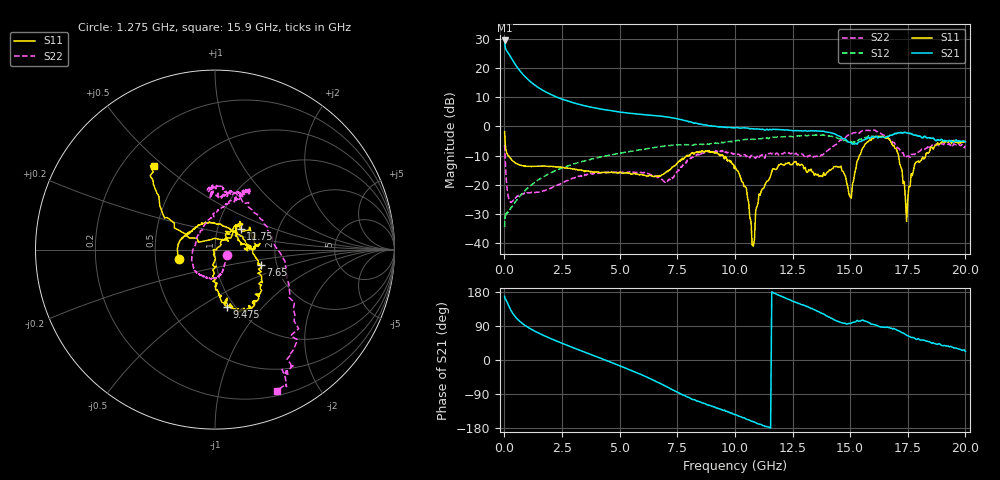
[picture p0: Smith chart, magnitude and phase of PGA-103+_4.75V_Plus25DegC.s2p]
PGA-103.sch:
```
<QucsStudio Schematic 5.8>
<Properties>
View=-842.127,0.885064,1584.38,2416.28,0.999989,0,798
Grid=10,10,1
DataSet=*.dat
DataDisplay=*.dpl
OpenDisplay=3
showFrame=0
FrameText0=Title \n @PATH@@FILE@
FrameText1=Drawn By:
FrameText2=Date: @DATE@
FrameText3=Revision:
tune=C12: C|5 pF|105 pF
tune=L4: L|10 nH|310 nH
tune=L11: L|40 nH|940 nH
</Properties>
<Symbol>
</Symbol>
<Components>
GND * 1 320 250 0 0 0
GND * 1 490 130 0 0 0
GND * 1 440 160 0 0 0
SPfile L2 1 400 150 -39 -8 1 "Coilcraft_0603DC/0603DC-R22.s2p"0"2"0"polar"0"linear"0"short"0"none"0"block"0"SOT23"0
GND * 1 540 120 0 0 0
GND * 1 490 250 0 0 0
Pac P2 1 620 270 18 -26 0 "2"1"50 Ω"1"0 dBm"0"1 GHz"0"26.85"0"con_2"0
GND * 1 620 320 0 0 0
GND * 1 320 1030 0 0 0
GND * 1 540 900 0 0 0
Pac P4 1 620 1050 18 -26 0 "4"1"50 Ω"1"0 dBm"0"1 GHz"0"26.85"0"con_2"0
GND * 1 620 1100 0 0 0
L L5 1 400 950 14 -23 3 "220 nH"1"0"0""0"inductor_1mH"0
GND * 1 120 270 0 0 3
GND * 1 150 300 0 0 0
GND * 1 120 1080 0 0 0
C C12 1 70 1000 -26 17 0 "33 pF"1"0"0""0"neutral"0"SMD0603"0
C C9 1 470 880 -26 17 0 "330 pF"1"0"0""0"neutral"0"SMD0603"0
C C11 1 520 1000 -26 17 0 "330 pF"1"0"0""0"neutral"0"SMD0603"0
GND * 1 40 250 0 0 0
GND * 1 230 250 0 0 0
SPfile C3 1 490 100 -13 -40 0 "sparameter-mlcc20250313045539/grm-s-v72/Temperature_compensating/1608_0603/GRM1882C1H331JA01.s2p"0"2"0"polar"0"linear"0"short"0"none"0"block"0"SOT23"0
SPfile C14 1 490 220 -13 -40 0 "sparameter-mlcc20250313045539/grm-s-v72/Temperature_compensating/1608_0603/GRM1882C1H331JA01.s2p"0"2"0"polar"0"linear"0"short"0"none"0"block"0"SOT23"0
SPfile C16 1 230 220 -13 -40 0 "sparameter-mlcc20250313045539/grm-s-v72/Temperature_compensating/1608_0603/GRM1882C1H331JA01.s2p"0"2"0"polar"0"linear"0"short"0"none"0"block"0"SOT23"0
GND * 1 320 1790 0 0 0
GND * 1 540 1660 0 0 0
GND * 1 620 1860 0 0 0
L L7 1 400 1710 14 -23 3 "220 nH"1"0"0""0"inductor_1mH"0
L L9 1 120 1810 14 -23 3 "68 nH"1"0"0""0"inductor_1mH"0
GND * 1 120 1840 0 0 0
C C18 1 470 1640 -26 17 0 "330 pF"1"0"0""0"neutral"0"SMD0603"0
C C20 1 520 1760 -26 17 0 "330 pF"1"0"0""0"neutral"0"SMD0603"0
C C21 1 230 1760 -26 17 0 "330 pF"1"0"0""0"neutral"0"SMD0603"0
Pac P6 1 620 1810 18 -26 0 "6"1"50 Ω"1"0 dBm"0"1 GHz"0"26.85"0"con_2"0
SPfile Q1 1 320 220 -13 -40 0 "PGA103/PGA-103+_4.75V_Plus25DegC.s2p"0"2"0"polar"0"linear"0"short"0"none"0"block"0"SOT23"0
SPfile Q4 1 320 1000 -13 -40 0 "PGA103/PGA-103+_4.75V_Plus25DegC.s2p"0"2"0"polar"0"linear"0"short"0"none"0"block"0"SOT23"0
SPfile C1 1 40 220 -12 -41 0 "sparameter-mlcc20250313045539/grm-s-v72/Temperature_compensating/1608_0603/GRM1882C1H330JA01.s2p"0"2"0"polar"0"linear"0"short"0"none"0"block"0"SOT23"0
C C8 1 230 1000 -26 17 0 "330 pF"1"0"0""0"neutral"0"SMD0603"0
SPfile L1 1 150 270 23 -9 3 "Coilcraft_0805CS/0805CS-680.s2p"0"2"0"rectangular"0"linear"0"short"0"none"0"block"0"SOT23"0
Pac P1 1 -150 270 -71 -26 6 "1"1"50 Ω"1"0 dBm"0"1 GHz"0"26.85"0"con_2"0
GND * 1 -150 300 0 0 0
GND * 1 -70 300 0 0 0
GND * 1 -40 270 0 0 1
Pac P3 1 -110 1050 -71 -26 6 "3"1"50 Ω"1"0 dBm"0"1 GHz"0"26.85"0"con_2"0
GND * 1 -110 1080 0 0 0
GND * 1 -50 1080 0 0 0
SPfile L10 1 -70 270 -39 -8 1 "Coilcraft_0805CS/0805CS-561.s2p"0"2"0"polar"0"linear"0"short"0"none"0"block"0"SOT23"0
L L11 1 -50 1050 14 -23 3 "560 nH"1"0"0""0"inductor_1mH"0
L L4 1 120 1050 14 -23 3 "68 nH"1"0"0""0"inductor_1mH"0
C C17 1 70 1760 -26 17 0 "33 pF"1"0"0""0"neutral"0"SMD0603"0
GND * 1 -120 1840 0 0 0
Pac P5 1 -120 1810 -71 -26 6 "5"1"50 Ω"1"0 dBm"0"1 GHz"0"26.85"0"con_2"0
GND * 1 -50 1840 0 0 0
L L12 1 -50 1810 14 -23 3 "560 nH"1"0"0""0"inductor_1mH"0
SPfile Q3 1 320 1760 -13 -40 0 "TQP3M9037-s-parameters/TQP3M9037_3.3V_Vdd_deembeded_sparam.S2P"0"2"0"polar"0"linear"0"short"0"none"0"block"0"SOT23"0
.SP SP1 1 900 130 0 9 0 "log"1"100 MHz"1"6 GHz"1"501"1"no"0"1"0"2"0"none"0
</Components>
<Wires>
350 220 400 220
400 100 460 100
400 100 400 120
440 150 440 160
430 150 440 150
540 100 540 120
520 100 540 100
400 180 400 220
400 220 460 220
520 220 620 220
620 300 620 320
620 220 620 240
350 1000 400 1000
620 1080 620 1100
400 980 400 1000
400 880 400 920
400 880 440 880
540 880 540 900
500 880 540 880
150 220 150 240
120 1000 120 1020
120 1000 200 1000
260 1000 290 1000
100 1000 120 1000
400 1000 490 1000
620 1000 620 1020
550 1000 620 1000
260 220 290 220
150 220 200 220
70 220 150 220
350 1760 400 1760
620 1840 620 1860
400 1740 400 1760
400 1640 400 1680
400 1640 440 1640
540 1640 540 1660
500 1640 540 1640
120 1760 120 1780
120 1760 200 1760
260 1760 290 1760
100 1760 120 1760
400 1760 490 1760
620 1760 620 1780
550 1760 620 1760
-150 220 -150 240
-150 220 -70 220
-70 220 10 220
-70 220 -70 240
-110 1000 -50 1000
-110 1000 -110 1020
-50 1000 40 1000
-50 1000 -50 1020
-120 1760 -50 1760
-120 1760 -120 1780
-50 1760 40 1760
-50 1760 -50 1780
</Wires>
<Diagrams>
<Rect -144 756 653 367 31 #c0c0c0 1 10 1 1e+08 1 6e+09 0 -35 5 0 1 2.60404 5 28.1726 -1 -1 -1 "" "" "">
	<Legend 280 -80 1>
	<"dB(S[1,1])" "" #0000ff 1 3 0 0 0 1 "Input RL">
	  <Mkr 1.28696e+09 254 -316 3 1 0 0 0 50>
	  <Mkr 1.42207e+08 54 -176 3 1 0 0 0 50>
	  <Mkr 2.32071e+09 484 -356 3 1 0 0 0 50>
	<"dB(S[2,1])" "" #ff0000 1 3 0 0 1 1 "Gain">
	  <Mkr 1.28696e+09 234 -166 3 1 0 0 0 50>
	  <Mkr 1.42207e+08 54 -296 3 1 0 0 0 50>
	  <Mkr 2.32071e+09 484 -196 3 1 0 0 0 50>
	<"dB(S[2,2])" "" #ff00ff 1 3 0 0 0 1 "Output RL">
</Rect>
<Rect -134 1546 653 367 31 #c0c0c0 1 10 1 1e+08 1 6e+09 0 -40 5 0 0 -10 5 30 -1 -1 -1 "" "" "">
	<Legend 240 -70 1>
	<"dB(S[3,3])" "" #0000ff 1 3 0 0 0 1 "Input RL">
	  <Mkr 2.32071e+09 494 -356 3 1 0 0 0 50>
	  <Mkr 1.42207e+08 74 -226 3 1 0 0 0 50>
	  <Mkr 1.28696e+09 264 -336 3 1 0 0 0 50>
	<"dB(S[4,3])" "" #ff0000 1 3 0 0 1 1 "Gain">
	  <Mkr 1.28696e+09 264 -206 3 1 0 0 0 50>
	  <Mkr 2.32071e+09 494 -126 3 1 0 0 0 50>
	  <Mkr 1.42207e+08 34 -306 3 1 0 0 0 50>
	<"dB(S[4,4])" "" #ff00ff 1 3 0 0 0 1 "Output RL">
</Rect>
<Smith 626 1546 367 367 31 #c0c0c0 1 00 1 0 1 1 1 0 4 1 1 0 4 1 -1 -1 -1 "" "" "">
	<Legend 10 -100 1>
	<"S[3,3]" "" #0000ff 1 3 0 0 0 1 "Input Match">
	  <Mkr 1.44555e+08 264 -386 3 1 0 0 1 50>
	  <Mkr 1.28696e+09 314 -246 3 1 0 0 1 50>
</Smith>
<Rect -124 2316 653 367 31 #c0c0c0 1 10 1 1e+08 1 6e+09 0 -25 5 0 0 5 5 30 -1 -1 -1 "" "" "">
	<Legend 30 -80 1>
	<"dB(S[5,5])" "" #0000ff 1 3 0 0 0 1 "Input RL">
	  <Mkr 2.32071e+09 494 -336 3 1 0 0 0 50>
	  <Mkr 1.28696e+09 274 -206 3 1 0 0 0 50>
	  <Mkr 1.42207e+08 34 -216 3 1 0 0 0 50>
	<"dB(S[6,5])" "" #ff0000 1 3 0 0 1 1 "Gain">
	  <Mkr 2.32071e+09 494 -136 3 1 0 0 0 50>
	  <Mkr 1.28696e+09 264 -326 3 1 0 0 0 50>
	  <Mkr 1.42207e+08 34 -316 3 1 0 0 0 50>
	<"dB(S[6,6])" "" #ff00ff 1 3 0 0 0 1 "Output RL">
</Rect>
<Smith 646 2316 367 367 31 #c0c0c0 1 00 1 0 1 1 1 0 4 1 1 0 4 1 -1 -1 -1 "" "" "">
	<Legend 10 -100 0>
	<"S[5,5]" "" #0000ff 1 3 0 0 0 0 "">
	  <Mkr 1.44555e+08 264 -386 3 1 0 0 1 50>
	  <Mkr 1.28696e+09 314 -246 3 1 0 0 1 50>
</Smith>
<Smith 596 756 367 367 31 #c0c0c0 1 00 1 0 1 1 1 0 4 1 1 0 4 1 -1 -1 -1 "" "" "">
	<Legend 10 -100 1>
	<"S[1,1]" "" #0000ff 1 3 0 0 0 1 "Input Match">
	  <Mkr 1.28696e+09 314 -256 3 1 0 0 1 50>
	  <Mkr 1.44555e+08 254 -386 3 1 0 0 1 50>
</Smith>
</Diagrams>
<Paintings>
Text 274 1691 16 #000000 0 TQP3M9037
Text 464 41 16 #000000 0 330 pF
Text 464 161 16 #000000 0 330 pF
Text 204 161 16 #000000 0 330 pF
Text 294 161 16 #000000 0 PGA103
Text 124 161 16 #000000 0 68 nH
Text 14 161 16 #000000 0 33 pF
Text -176 51 20 #000000 0 Use models for each component
Text -136 861 20 #000000 0 Use ideal components
Text 284 941 16 #000000 0 PGA-103+
</Paintings>
```
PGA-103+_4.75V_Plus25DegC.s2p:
!Mini-Circuits Laboratory
!S-Parameters, Port extension performed
!Model: PGA-103+
!Run / Lot / Date Code: N/A / BP170-001-01-101EV / 1210
!Fixture: TB-313
!Network Analyzer: PNA-X N5242A - 423 4 ports;  Serial number: 71013
!Date: 5/24/2012 at 5:11:19 PM
!S/N: Unit# 1
!Tested with: Vdd=4.75V at 25C
# Hz  S  dB  R  50
!Frequency  S11 dB  S11 Deg  S21 dB  S21 Deg  S12 dB  S12 Deg  S22 dB  S22 Deg
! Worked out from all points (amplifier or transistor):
!   660 points, 10 MHz to 20 GHz, reference 50 ohm
!   highest |S21| = 29.5 dB at 10 MHz (marker M1)
!   |S21| within 3 dB of that: start of sweep to 62.84 MHz
!   unconditionally stable (mu >= 1): 131 MHz to 15.04 GHz; 16.84 GHz to end of sweep
!   at 1.275 GHz: K = 1.11, MAG = 14.9 dB, |S12| = -19.4 dB
!   at 6.775 GHz: K = 1.03, MAG = 4.1 dB, |S12| = -6.9 dB
!   at 20 GHz: K = 1.27, MAG = -3.1 dB, |S12| = -5.3 dB
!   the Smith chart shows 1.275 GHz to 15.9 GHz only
!   S11 on the Smith chart (normalised r, x): 1.275 GHz: 0.66, -0.07; 7.65 GHz: 1.65, -0.31; 9.475 GHz: 0.92, -0.65; 11.75 GHz: 1.29, +0.31; 15.9 GHz: 0.33, +0.46
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1e7  -1.77 -19.9  29.46 168.1  -34.40 66.0  -6.37 -24.0
9e7  -8.69 -44.1  26.06 156.3  -29.97 23.0  -18.95 -59.5
4.5e8  -12.29 -104.5  21.52 115.9  -26.13 42.8  -24.69 -1.9
1.275e9  -13.66 -165.1  14.43 77.5  -19.37 50.3  -22.68 -22.5
3.575e9  -15.20 146.8  6.96 18.7  -11.56 19.8  -16.41 -82.5
7.65e9  -11.34 -18.9  2.42 -89.1  -6.28 -75.0  -13.92 93.1
9.475e9  -9.78 -78.5  -0.14 -132.7  -5.47 -119.3  -8.42 60.2
1.005e10  -14.54 -86.3  -0.32 -144.7  -4.79 -132.6  -9.25 69.2
1.175e10  -14.73 38.8  -1.03 175.2  -3.70 -175.2  -9.53 97.5
1.59e10  -4.78 126.4  -3.78 94.6  -3.47 95.4  -1.30 -66.4
2e10  -5.14 161.0  -5.23 22.5  -5.26 22.5  -6.69 26.5
